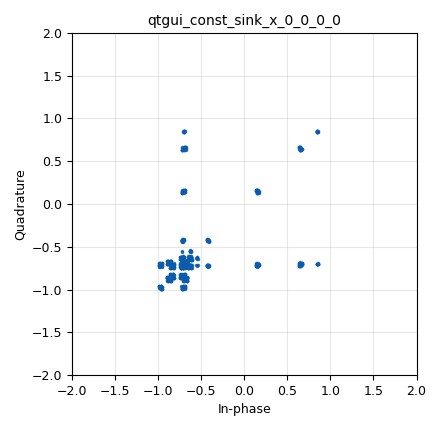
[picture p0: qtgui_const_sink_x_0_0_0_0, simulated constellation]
options:
  parameters:
    generate_options: qt_gui
    id: QPSK
    output_language: python
    title: QPSK
  states: {}

blocks:
- name: phase_bw
  id: variable
  parameters:
    value: '0.0628'
  states: {}
- name: qpsk_const
  id: variable_constellation_rect
  parameters:
    const_points: '[-1-1j, -1+1j, 1-1j, 1+1j]'
    imag_sect: '2'
    real_sect: '2'
    rot_sym: '4'
    sym_map: '[0, 1, 2, 3]'
    w_imag_sect: '1'
    w_real_sect: '1'
  states: {}
- name: samp_rate
  id: variable
  parameters:
    value: 1e6
  states: {}
- name: sps
  id: variable
  parameters:
    value: '4'
  states: {}
- name: analog_random_source_x_0
  id: analog_random_source_x
  parameters:
    max: '4'
    min: '0'
    num_samps: '1000'
    repeat: 'True'
    type: byte
  states: {}
- name: blocks_file_sink_0
  id: blocks_file_sink
  parameters:
    file: /home/thuy-anh/Downloads/data_phat.dat
    type: complex
    unbuffered: 'True'
  states: {state: disabled}
- name: blocks_file_sink_1
  id: blocks_file_sink
  parameters:
    file: /home/thuy-anh/Desktop/tesstttt/data_thu.dat
    type: complex
  states: {state: disabled}
- name: blocks_file_source_0
  id: blocks_file_source
  parameters:
    file: /home/thuy-anh/Desktop/hello.dat
    repeat: 'True'
    type: byte
  states: {state: disabled}
- name: blocks_repack_bits_bb_0
  id: blocks_repack_bits_bb
  parameters:
    align_output: 'True'
    endianness: gr.GR_MSB_FIRST
    k: '8'
    l: '2'
  states: {state: disabled}
- name: blocks_throttle2_0
  id: blocks_throttle2
  parameters:
    samples_per_second: samp_rate
    type: complex
  states: {}
- name: digital_constellation_modulator_0
  id: digital_constellation_modulator
  parameters:
    constellation: qpsk_const
    differential: 'False'
    excess_bw: '0.35'
    samples_per_symbol: '4'
  states: {}
- name: digital_costas_loop_cc_0
  id: digital_costas_loop_cc
  parameters:
    order: '4'
    w: phase_bw
  states: {state: disabled}
- name: digital_symbol_sync_xx_0
  id: digital_symbol_sync_xx
  parameters:
    damping: '1.0'
    loop_bw: '0.045'
    max_dev: '1.5'
    osps: '1'
    resamp_type: digital.IR_MMSE_8TAP
    sps: sps
    ted_gain: '1.0'
    ted_type: digital.TED_SIGNAL_TIMES_SLOPE_ML
    type: cc
  states: {state: disabled}
- name: qtgui_const_sink_x_0
  id: qtgui_const_sink_x
  parameters:
    size: '1024'
    type: complex
  states: {state: disabled}
- name: qtgui_const_sink_x_0_0
  id: qtgui_const_sink_x
  parameters:
    size: '1024'
    type: complex
  states: {state: disabled}
- name: qtgui_const_sink_x_0_0_0
  id: qtgui_const_sink_x
  parameters:
    size: '1024'
    type: complex
  states: {state: disabled}
- name: qtgui_const_sink_x_0_0_0_0
  id: qtgui_const_sink_x
  parameters:
    size: '1024'
    type: complex
  states: {}
- name: uhd_usrp_sink_0
  id: uhd_usrp_sink
  parameters:
    ant0: '"TX/RX"'
    center_freq0: 1e9
    dev_addr: addr=192.168.180.94
    gain0: '30'
    samp_rate: samp_rate
    sync: sync
    type: fc32
  states: {state: disabled}
- name: uhd_usrp_source_0
  id: uhd_usrp_source
  parameters:
    ant0: '"RX2"'
    center_freq0: 1e9
    dev_addr: addr=192.168.180.94
    gain0: '30'
    samp_rate: samp_rate
    sync: sync
    type: fc32
  states: {state: disabled}

connections:
- [analog_random_source_x_0, '0', blocks_repack_bits_bb_0, '0']
- [analog_random_source_x_0, '0', digital_constellation_modulator_0, '0']
- [blocks_file_source_0, '0', blocks_repack_bits_bb_0, '0']
- [blocks_repack_bits_bb_0, '0', digital_constellation_modulator_0, '0']
- [blocks_throttle2_0, '0', qtgui_const_sink_x_0_0_0_0, '0']
- [digital_constellation_modulator_0, '0', blocks_throttle2_0, '0']
- [digital_constellation_modulator_0, '0', uhd_usrp_sink_0, '0']
- [digital_costas_loop_cc_0, '0', blocks_file_sink_0, '0']
- [digital_costas_loop_cc_0, '0', qtgui_const_sink_x_0_0_0, '0']
- [digital_costas_loop_cc_0, '0', uhd_usrp_sink_0, '0']
- [digital_symbol_sync_xx_0, '0', digital_costas_loop_cc_0, '0']
- [uhd_usrp_source_0, '0', blocks_file_sink_1, '0']
- [uhd_usrp_source_0, '0', qtgui_const_sink_x_0, '0']

metadata:
  file_format: 1
  grc_version: 3.10.9.2
